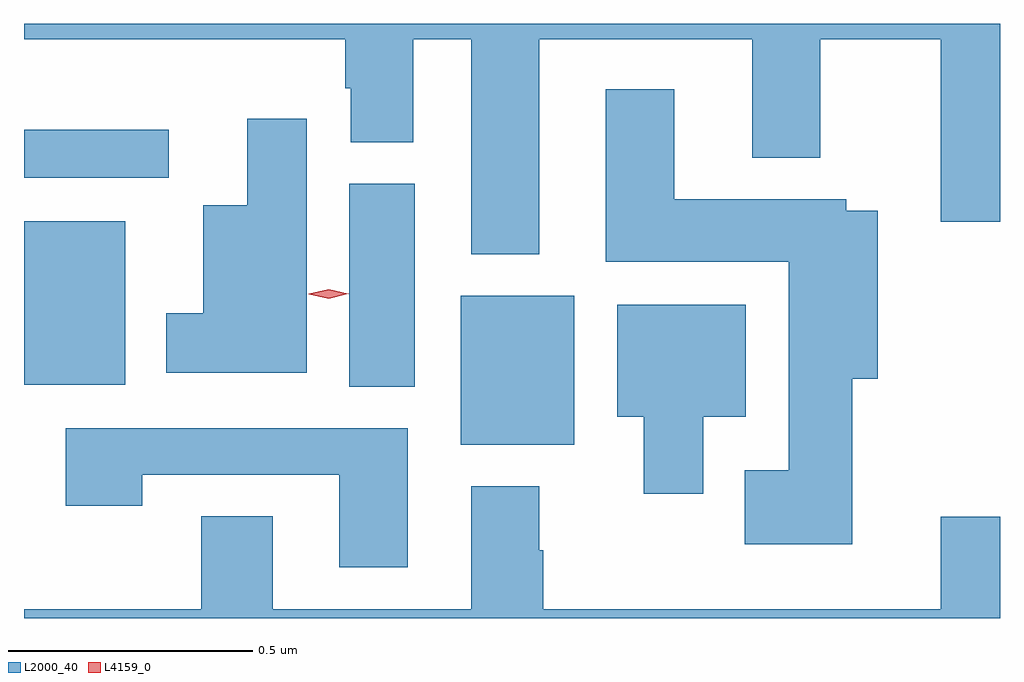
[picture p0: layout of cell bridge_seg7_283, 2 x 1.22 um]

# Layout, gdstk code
import gdstk
lib = gdstk.Library(unit=1e-6, precision=1e-09)
def R(c, l, rs):  # rectangles x0, y0, x1, y1
    for r in rs: c.add(gdstk.rectangle(r[:2], r[2:], *l))
def P(c, l, *ps):  # polygons
    for p in ps: c.add(gdstk.Polygon(p, *l))
L2000_40 = (2000, 40)
L4159_0 = (4159, 0)

bridge_seg7_283 = lib.new_cell('bridge_seg7_283')
R(bridge_seg7_283, L2000_40, [(128.06,1081.037,128.293,1081.342), (127.832,1081.156,127.966,1081.572), (127.165,1081.16,127.372,1081.495), (127.165,1081.584,127.462,1081.682)])
P(bridge_seg7_283, L2000_40, [(128.221,1081.868),(128.657,1081.868),(128.657,1081.625),(128.797,1081.625),(128.797,1081.868),(129.044,1081.868),(129.044,1081.494),(129.165,1081.494),(129.165,1081.9),(127.165,1081.9),(127.165,1081.868),(127.823,1081.868),(127.823,1081.767),(127.835,1081.767),(127.835,1081.657),(127.963,1081.657),(127.963,1081.868),(128.081,1081.868),(128.081,1081.427),(128.221,1081.427)],
  [(128.862,1081.172),(128.914,1081.172),(128.914,1081.516),(128.85,1081.516),(128.85,1081.54),(128.497,1081.54),(128.497,1081.765),(128.357,1081.765),(128.357,1081.412),(128.732,1081.412),(128.732,1080.985),(128.642,1080.985),(128.642,1080.833),(128.862,1080.833)],
  [(127.744,1081.705),(127.622,1081.705),(127.622,1081.528),(127.532,1081.528),(127.532,1081.306),(127.457,1081.306),(127.457,1081.184),(127.744,1081.184)],
  [(128.557,1081.094),(128.644,1081.094),(128.644,1081.324),(128.381,1081.324),(128.381,1081.094),(128.435,1081.094),(128.435,1080.936),(128.557,1080.936)],
  [(127.951,1081.071),(127.251,1081.071),(127.251,1080.912),(127.407,1080.912),(127.407,1080.975),(127.811,1080.975),(127.811,1080.786),(127.951,1080.786)],
  [(129.165,1080.889),(129.044,1080.889),(129.044,1080.7),(128.229,1080.7),(128.229,1080.821),(128.221,1080.821),(128.221,1080.952),(128.081,1080.952),(128.081,1080.7),(127.675,1080.7),(127.675,1080.89),(127.528,1080.89),(127.528,1080.7),(127.165,1080.7),(127.165,1080.681),(129.165,1080.681)])
P(bridge_seg7_283, L4159_0, [(127.789,1081.336),(127.748,1081.345),(127.748,1081.345),(127.748,1081.346),(127.789,1081.356),(127.829,1081.346),(127.83,1081.346),(127.829,1081.346)])

lib.write_gds('bridge_seg7_283.gds')
